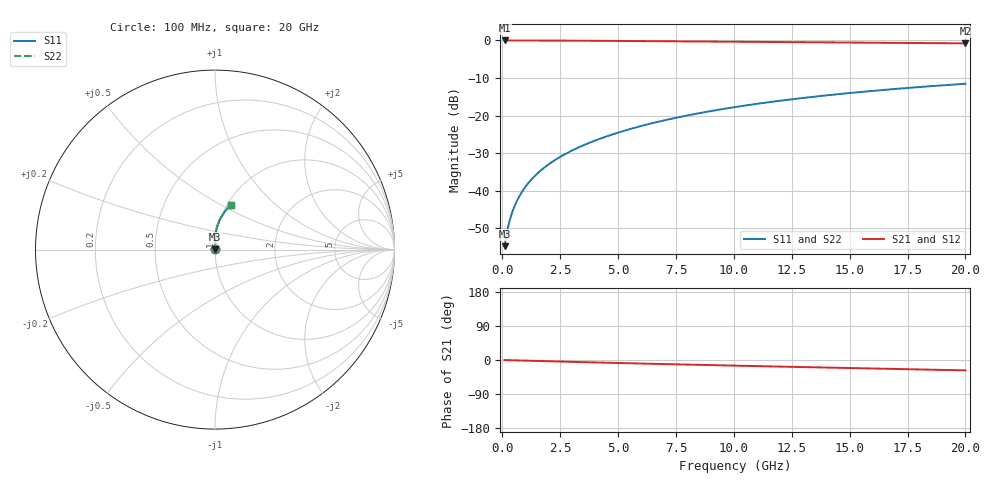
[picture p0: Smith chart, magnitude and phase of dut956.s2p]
! Touchstone file exported from HFSS 2024.1.0
!  File:  C:/UserFiles/LocalFiles/RDL_TSV_Batchsim/temp_RDL_bottom_956_1779942411.aedt
!  Generated:  12:29:23 PM May 28, 2026
!  Design:  RDL_bottom
!  Project:  temp_RDL_bottom_956_1779942411
!  Setup:  Setup1
!  Solution:  Sweep
! Variables:
!  dtsv = 10.80580581um
!  hbump = 3um
!  htsv = 88.51um
!  ldown = 361.51um
!  lrdl = 100um
!  p = 40
!  p1 = 57.09um
!  rhole = 1um
!  t = 450um
!  tdown = 4.23um
!  trdl = 3.915915916um
!  wdown = 26.35um
!  wrdl = 20um
# GHz S MA R 50.000000
! Terminal data exported
! Port[1] = RDL1_T1
! Port[2] = RDL1_T2
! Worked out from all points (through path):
!   200 points, 100 MHz to 20 GHz, reference 50 ohm
!   highest |S21| = -0.01 dB at 100 MHz (marker M1); lowest = -0.8 dB at 20 GHz (marker M2)
!   group delay of S21, straight-line fit = 3.75 ps
!   lowest |S11| = -54.8 dB at 100 MHz (marker M3), VSWR 1.00, Z = 50.1 + j0.123 ohm
!   |S11| at or under -10 dB: start of sweep to end of sweep
!   |S22| runs from -54.8 to -11.5 dB; largest |S21 - S12| = 2.7e-15
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0.1  0.001822 42.1  0.9986 -0.2  0.9986 -0.2  0.001822 42.1
! Gamma 0 0 0 0
! Port Impedance 50 0 50 0
0.2  0.002787 59.1  0.9985 -0.3  0.9985 -0.3  0.002787 59.1
0.3  0.00382 66.8  0.9984 -0.5  0.9984 -0.5  0.00382 66.8
0.4  0.00486 71.3  0.9983 -0.7  0.9983 -0.7  0.00486 71.3
0.5  0.005906 74.4  0.9982 -0.8  0.9982 -0.8  0.005906 74.4
0.6  0.006959 76.7  0.9981 -1.0  0.9981 -1.0  0.006959 76.7
0.8  0.009089 79.9  0.9979 -1.3  0.9979 -1.3  0.00909 79.9
1.1  0.01234 82.8  0.9975 -1.8  0.9975 -1.8  0.01234 82.8
1.5  0.01675 85.1  0.9968 -2.5  0.9968 -2.5  0.01675 85.1
1.8  0.02011 86.3  0.9961 -3.0  0.9961 -3.0  0.02011 86.3
2.1  0.02352 87.1  0.9954 -3.4  0.9954 -3.4  0.02352 87.1
2.7  0.0305 88.3  0.9936 -4.4  0.9936 -4.4  0.03049 88.3
3.5  0.04012 89.1  0.9908 -5.6  0.9908 -5.6  0.04011 89.1
4.2  0.04885 89.4  0.988 -6.7  0.988 -6.7  0.04884 89.4
5  0.05917 89.4  0.9845 -7.9  0.9845 -7.9  0.05916 89.4
6.8  0.0835 88.4  0.976 -10.5  0.976 -10.5  0.08349 88.4
8.4  0.106 86.7  0.9683 -12.7  0.9683 -12.7  0.106 86.7
10.1  0.1303 84.6  0.9601 -15.0  0.9601 -15.0  0.1302 84.6
11.7  0.1531 82.3  0.9526 -17.1  0.9526 -17.1  0.1531 82.3
13.4  0.1771 79.9  0.9446 -19.2  0.9446 -19.2  0.1771 79.9
16.7  0.2222 75.1  0.9291 -23.4  0.9291 -23.4  0.2222 75.1
20  0.2648 70.4  0.9134 -27.4  0.9134 -27.4  0.2648 70.4
